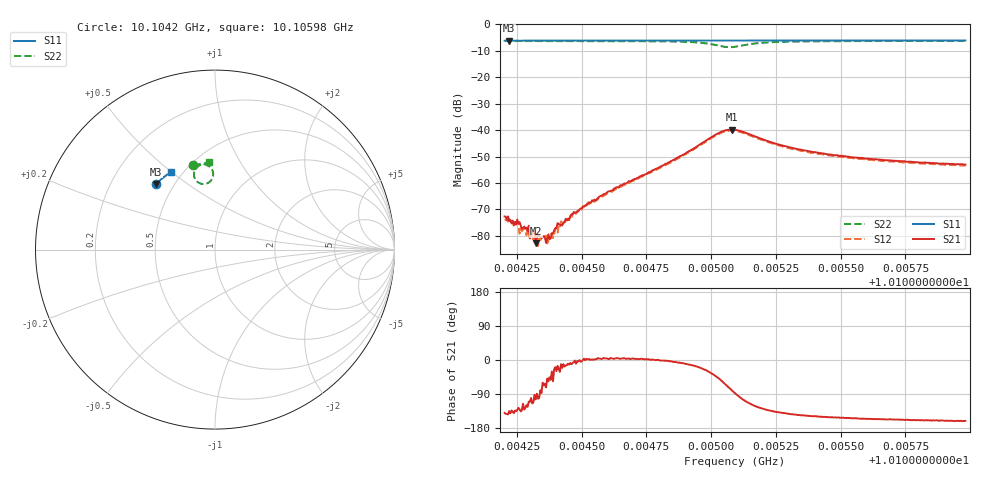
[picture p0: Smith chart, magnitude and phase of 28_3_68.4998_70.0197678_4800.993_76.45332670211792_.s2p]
#  HZ  S  RI  R  50.00
! Rohde & Schwarz Vector Network Analyzer
! Rohde-Schwarz,ZNB20-2Port,1311601062101988,3.16
! Created: UTC 3/20/2024, 4:49:49 PM
! freq[Hz]  re:S11  im:S11  re:S21  im:S21  re:S12  im:S12  re:S22  im:S22
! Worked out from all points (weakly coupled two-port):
!   401 points, 10.1042 GHz to 10.10598 GHz, reference 50 ohm
!   highest |S21| = -39.81 dB at 10.10508 GHz (marker M1); lowest = -82.8 dB at 10.10432 GHz (marker M2)
!   lowest |S11| = -6.2 dB at 10.10422 GHz (marker M3), VSWR 2.94, Z = 20 + j19.2 ohm
!   |S11| at or under -10 dB: nowhere
!   |S22| runs from -8.6 to -6.2 dB; largest |S21 - S12| = 0.001
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1.0104203e10  -0.3299 0.3649  -0.000177 -0.00015  -0.000125 -0.000154  -0.1205 0.4691
1.010422e10  -0.3289 0.3657  -0.000136 -0.000135  -0.00016 -0.000122  -0.1192 0.4694
1.0104247e10  -0.3279 0.3668  -0.000117 -0.000116  -0.000125 -0.000131  -0.1172 0.47
1.0104269e10  -0.3269 0.3678  -9e-05 -0.000101  -7.66e-05 -9.65e-05  -0.1156 0.4704
1.0104287e10  -0.3261 0.3686  -6.97e-05 -0.000124  -3.25e-05 -9.77e-05  -0.1142 0.4708
1.0104309e10  -0.3252 0.3694  -4.62e-05 -0.000101  -1.35e-05 -9.72e-05  -0.1124 0.4711
1.0104323e10  -0.3245 0.3701  -1.75e-05 -7.02e-05  -2.13e-05 -0.00011  -0.1113 0.4715
1.0104358e10  -0.323 0.3715  4.26e-05 -8.25e-05  3.95e-05 -9.11e-05  -0.1086 0.4721
1.0104385e10  -0.3217 0.3726  9.48e-05 -5.55e-05  9.67e-05 -5.57e-05  -0.1063 0.4726
1.0104407e10  -0.3208 0.3736  0.000167 -4.64e-05  0.000108 -3.94e-05  -0.1044 0.473
1.0104421e10  -0.3202 0.3743  0.000158 -3.04e-05  0.000183 -4.02e-05  -0.1032 0.4732
1.0104501e10  -0.3165 0.3776  0.000331 -2.22e-05  0.000313 2.46e-05  -0.0962 0.4745
1.0104599e10  -0.3122 0.3815  0.000664 4.76e-05  0.000625 7.3e-05  -0.0866 0.476
1.0104799e10  -0.3028 0.3896  0.00196 -1.17e-05  0.00191 0.00014  -0.0593 0.4752
1.0104941e10  -0.2958 0.3949  0.00454 -0.00134  0.00449 -0.000931  -0.0241 0.4562
1.0105025e10  -0.2918 0.3979  0.00594 -0.00624  0.00624 -0.00549  -0.0135 0.3992
1.0105079e10  -0.2894 0.3994  0.00188 -0.01  0.00269 -0.00947  -0.0643 0.3652
1.0105092e10  -0.2889 0.3999  0.000371 -0.0101  0.00126 -0.00966  -0.0805 0.368
1.0105252e10  -0.2818 0.4063  -0.00404 -0.00374  -0.00355 -0.00391  -0.1068 0.4514
1.010539e10  -0.275 0.4114  -0.00331 -0.00205  -0.00296 -0.00224  -0.086 0.4699
1.0105688e10  -0.2601 0.422  -0.00246 -0.00107  -0.00224 -0.0012  -0.0556 0.4816
1.0105982e10  -0.2452 0.4316  -0.0021 -0.000739  -0.00196 -0.000863  -0.0323 0.486
